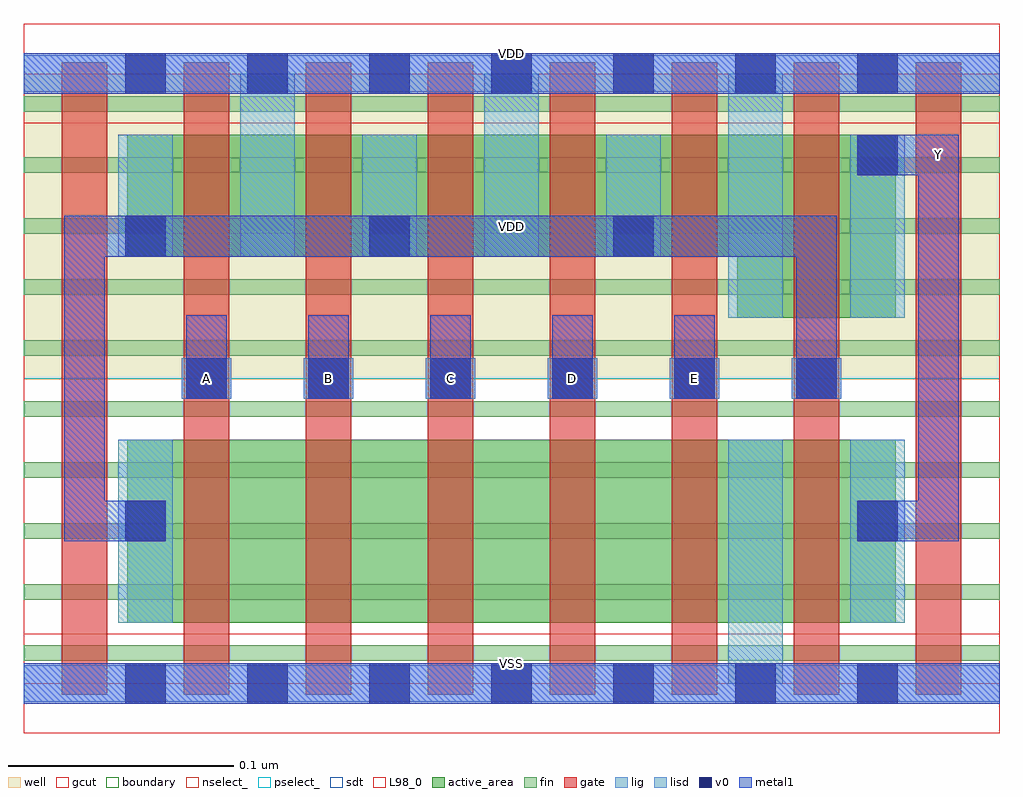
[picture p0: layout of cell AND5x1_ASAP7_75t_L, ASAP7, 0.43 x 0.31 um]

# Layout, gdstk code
import gdstk
lib = gdstk.Library(unit=1e-6, precision=2.5e-10)
def R(c, l, rs):  # rectangles x0, y0, x1, y1
    for r in rs: c.add(gdstk.rectangle(r[:2], r[2:], *l))
def A(c, l, x, y, w, h, nx, ny, dx, dy):  # array of equal rectangles
    R(c, l, [(x+i*dx, y+j*dy, x+i*dx+w, y+j*dy+h) for i in range(nx) for j in range(ny)])
def P(c, l, *ps):  # polygons
    for p in ps: c.add(gdstk.Polygon(p, *l))
well = (1, 0)
fin = (2, 0)
gate = (7, 0)
gcut = (10, 0)
active_area = (11, 0)
nselect_ = (12, 0)
pselect_ = (13, 0)
lig = (16, 0)
lisd = (17, 0)
v0 = (18, 0)
metal1 = (19, 0)
sdt = (88, 0)
L98_0 = (98, 0)
boundary = (100, 0)

and5x1_asap7_75t_l = lib.new_cell('AND5x1_ASAP7_75t_L')
R(and5x1_asap7_75t_l, well, [(0,0.135,0.432,0.27)])
A(and5x1_asap7_75t_l, fin, 0, 0.01, 0.432, 0.007, 1, 10, 0, 0.027)
A(and5x1_asap7_75t_l, gate, 0.017, -0.005, 0.02, 0.28, 8, 1, 0.054, 0)
R(and5x1_asap7_75t_l, gcut, [(0,-0.022,0.432,0.022), (0,0.248,0.432,0.292)])
R(and5x1_asap7_75t_l, active_area, [(0.046,0.027,0.386,0.108)])
P(and5x1_asap7_75t_l, active_area, [(0.046,0.189),(0.316,0.189),(0.316,0.162),(0.386,0.162),(0.386,0.243),(0.046,0.243)])
R(and5x1_asap7_75t_l, nselect_, [(0,0,0.432,0.135)])
R(and5x1_asap7_75t_l, pselect_, [(0,0.135,0.432,0.27)])
A(and5x1_asap7_75t_l, lig, 0.07, 0.126, 0.022, 0.018, 6, 1, 0.054, 0)
R(and5x1_asap7_75t_l, lig, [(0,-0.008,0.432,0.008), (0,0.262,0.432,0.278)])
A(and5x1_asap7_75t_l, lisd, 0.042, 0.189, 0.024, 0.054, 3, 1, 0.108, 0)
R(and5x1_asap7_75t_l, lisd, [(0.312,0,0.336,0.108), (0.312,0,0.336,0.108), (0.042,0.027,0.066,0.108), (0.366,0.027,0.39,0.108), (0.312,0.162,0.336,0.27), (0.312,0.162,0.336,0.27), (0.366,0.162,0.39,0.243), (0.096,0.189,0.12,0.27), (0.096,0.189,0.12,0.27), (0.204,0.189,0.228,0.27), (0.204,0.189,0.228,0.27)])
A(and5x1_asap7_75t_l, v0, 0.045, -0.009, 0.018, 0.018, 7, 2, 0.054, 0.27)
A(and5x1_asap7_75t_l, v0, 0.072, 0.126, 0.018, 0.018, 6, 1, 0.054, 0)
A(and5x1_asap7_75t_l, v0, 0.045, 0.189, 0.018, 0.018, 3, 1, 0.108, 0)
R(and5x1_asap7_75t_l, v0, [(0.045,0.063,0.063,0.081), (0.369,0.063,0.387,0.081), (0.369,0.225,0.387,0.243)])
A(and5x1_asap7_75t_l, metal1, 0.072, 0.126, 0.018, 0.018, 6, 1, 0.054, 0)
A(and5x1_asap7_75t_l, metal1, 0.072, 0.126, 0.018, 0.037, 5, 1, 0.054, 0)
A(and5x1_asap7_75t_l, metal1, 0.045, 0.189, 0.018, 0.018, 3, 1, 0.108, 0)
R(and5x1_asap7_75t_l, metal1, [(0,-0.009,0.432,0.009), (0.045,0.063,0.063,0.081), (0.369,0.063,0.387,0.081), (0.369,0.225,0.387,0.243), (0,0.261,0.432,0.279)])
P(and5x1_asap7_75t_l, metal1, [(0.36,0.126),(0.36,0.207),(0.018,0.207),(0.018,0.063),(0.063,0.063),(0.063,0.081),(0.036,0.081),(0.036,0.189),(0.342,0.189),(0.342,0.126)],
  [(0.369,0.243),(0.369,0.225),(0.396,0.225),(0.396,0.081),(0.369,0.081),(0.369,0.063),(0.414,0.063),(0.414,0.243)])
A(and5x1_asap7_75t_l, sdt, 0.096, 0.189, 0.024, 0.054, 3, 1, 0.054, 0)
R(and5x1_asap7_75t_l, sdt, [(0.042,0.027,0.066,0.108), (0.312,0.027,0.336,0.108), (0.312,0.027,0.336,0.108), (0.366,0.027,0.39,0.108), (0.312,0.162,0.336,0.243), (0.312,0.162,0.336,0.243), (0.366,0.162,0.39,0.243), (0.042,0.189,0.066,0.243), (0.096,0.189,0.12,0.243), (0.204,0.189,0.228,0.243), (0.258,0.189,0.282,0.243)])
R(and5x1_asap7_75t_l, L98_0, [(0,0,0.432,0.27)])
R(and5x1_asap7_75t_l, boundary, [(0,0,0.432,0.27)])
and5x1_asap7_75t_l.add(gdstk.Label('VDD', (0.216,0.2025), layer=1, texttype=251))
and5x1_asap7_75t_l.add(gdstk.Label('VSS', (0.216,-0.0675), layer=3, texttype=251))
and5x1_asap7_75t_l.add(gdstk.Label('VSS', (0.216,0.009), layer=19, texttype=251))
and5x1_asap7_75t_l.add(gdstk.Label('VDD', (0.216,0.279), layer=19, texttype=251))
and5x1_asap7_75t_l.add(gdstk.Label('A', (0.081,0.135), layer=19, texttype=251))
and5x1_asap7_75t_l.add(gdstk.Label('B', (0.135,0.135), layer=19, texttype=251))
and5x1_asap7_75t_l.add(gdstk.Label('C', (0.189,0.135), layer=19, texttype=251))
and5x1_asap7_75t_l.add(gdstk.Label('D', (0.243,0.135), layer=19, texttype=251))
and5x1_asap7_75t_l.add(gdstk.Label('E', (0.297,0.135), layer=19, texttype=251))
and5x1_asap7_75t_l.add(gdstk.Label('Y', (0.405,0.234), layer=19, texttype=251))

lib.write_gds('AND5x1_ASAP7_75t_L.gds')
